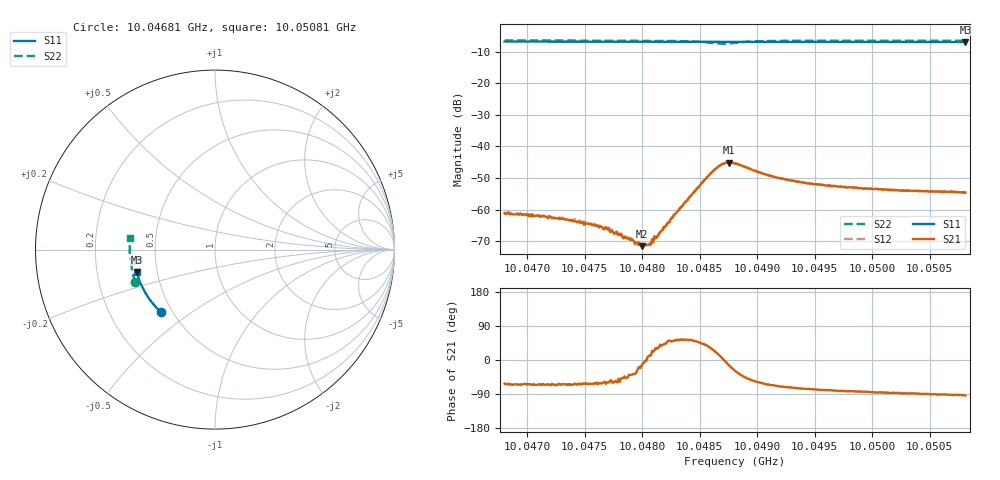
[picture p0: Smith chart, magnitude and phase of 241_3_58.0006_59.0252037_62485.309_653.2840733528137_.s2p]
#  HZ  S  RI  R  50.00
! Rohde & Schwarz Vector Network Analyzer
! Rohde-Schwarz,ZNB20-2Port,1311601062101988,3.16
! Created: UTC 3/21/2024, 1:01:04 AM
! freq[Hz]  re:S11  im:S11  re:S21  im:S21  re:S12  im:S12  re:S22  im:S22
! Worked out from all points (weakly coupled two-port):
!   401 points, 10.04681 GHz to 10.05081 GHz, reference 50 ohm
!   highest |S21| = -45.09 dB at 10.04876 GHz (marker M1); lowest = -71.6 dB at 10.048 GHz (marker M2)
!   lowest |S11| = -6.9 dB at 10.05081 GHz (marker M3), VSWR 2.66, Z = 19.1 - j5.99 ohm
!   |S11| at or under -10 dB: nowhere
!   |S22| runs from -7.4 to -6.4 dB; largest |S21 - S12| = 0.00038
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1.0046806e10  -0.3023 -0.3477  0.000405 -0.000776  0.00045 -0.000762  -0.4433 -0.1831
1.0047146e10  -0.3184 -0.3319  0.000343 -0.000725  0.000383 -0.000669  -0.451 -0.1615
1.0047276e10  -0.3245 -0.3257  0.000324 -0.00063  0.000355 -0.000665  -0.4535 -0.1526
1.0047476e10  -0.3335 -0.3161  0.000291 -0.000551  0.000318 -0.000562  -0.4573 -0.139
1.0047697e10  -0.3429 -0.3049  0.000244 -0.000418  0.000258 -0.000411  -0.461 -0.1237
1.0047877e10  -0.3505 -0.2956  0.000242 -0.000245  0.000256 -0.000249  -0.4632 -0.1105
1.0047927e10  -0.3526 -0.293  0.000257 -0.00019  0.000263 -0.000158  -0.4638 -0.1067
1.0047997e10  -0.3553 -0.2893  0.000255 -6.39e-05  0.000257 -5.52e-05  -0.4644 -0.1011
1.0048057e10  -0.3577 -0.2862  0.000277 4.87e-05  0.000295 5.88e-05  -0.4649 -0.0963
1.0048087e10  -0.3589 -0.2846  0.00031 0.000139  0.000283 9.57e-05  -0.465 -0.0938
1.0048147e10  -0.3613 -0.2814  0.00034 0.000222  0.000324 0.000269  -0.4651 -0.0886
1.0048187e10  -0.3628 -0.2793  0.000404 0.000347  0.000325 0.00037  -0.4651 -0.0851
1.0048237e10  -0.3648 -0.2767  0.000393 0.000483  0.000398 0.000544  -0.4648 -0.0805
1.0048587e10  -0.3775 -0.2573  0.00302 0.00199  0.0029 0.00215  -0.4408 -0.0474
1.0048678e10  -0.3804 -0.2522  0.00491 0.000918  0.00491 0.00121  -0.4246 -0.0545
1.0048758e10  -0.3831 -0.2482  0.00539 -0.0014  0.00551 -0.00107  -0.4238 -0.0722
1.0048808e10  -0.3847 -0.2454  0.00473 -0.00256  0.00496 -0.00225  -0.4319 -0.0794
1.0049108e10  -0.395 -0.2284  0.00143 -0.00313  0.00164 -0.00307  -0.4663 -0.0608
1.0049478e10  -0.4061 -0.2066  0.000574 -0.0025  0.000731 -0.00247  -0.4744 -0.029
1.0049909e10  -0.4176 -0.1807  0.000249 -0.00217  0.000379 -0.00213  -0.4764 0.00289
1.0050149e10  -0.4234 -0.1659  9.85e-05 -0.00207  0.00025 -0.00204  -0.4758 0.0197
1.0050809e10  -0.4362 -0.1245  -0.000117 -0.00186  9.18e-06 -0.00187  -0.4717 0.0646
